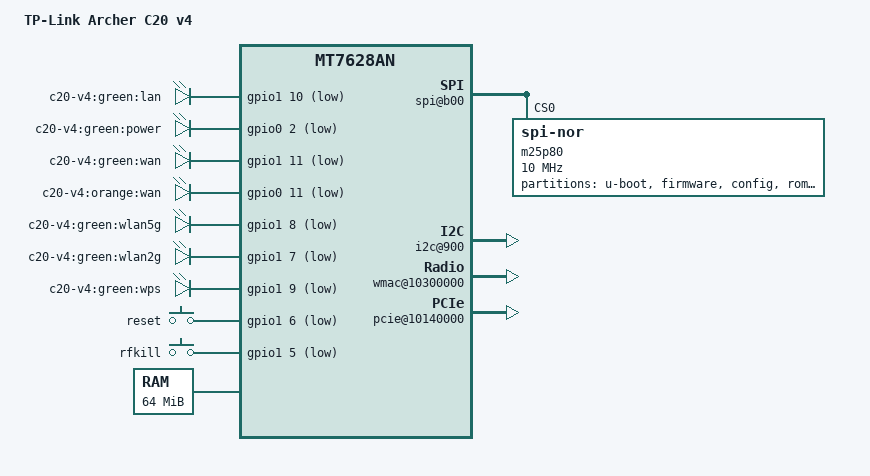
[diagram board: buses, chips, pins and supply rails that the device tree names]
/dts-v1/;

/include/ "mt7628an.dtsi"

/ {
	compatible = "tplink,c20-v4", "mediatek,mt7628an-soc";
	model = "TP-Link Archer C20 v4";

	chosen {
		bootargs = "console=ttyS0,115200";
	};

	gpio-leds {
		compatible = "gpio-leds";

		lan {
			label = "c20-v4:green:lan";
			gpios = <&gpio1 10 1>;
		};

		power {
			label = "c20-v4:green:power";
			gpios = <&gpio0 2 1>;
		};

		wan {
			label = "c20-v4:green:wan";
			gpios = <&gpio1 11 1>;
		};

		wan_orange {
			label = "c20-v4:orange:wan";
			gpios = <&gpio0 11 1>;
		};

		wlan5g {
			label = "c20-v4:green:wlan5g";
			gpios = <&gpio1 8 1>;
		};

		wlan2g {
			label = "c20-v4:green:wlan2g";
			gpios = <&gpio1 7 1>;
		};

		wps {
			label = "c20-v4:green:wps";
			gpios = <&gpio1 9 1>;
		};
	};

	keys {
		compatible = "gpio-keys-polled";
		poll-interval = <20>;

		reset {
			label = "reset";
			gpios = <&gpio1 6 1>;
			linux,code = <0x198>;
		};

		rfkill {
			label = "rfkill";
			gpios = <&gpio1 5 1>;
			linux,code = <247>;
		};
	};

	memory@0 {
		device_type = "memory";
		reg = <0x0 0x4000000>;
	};

	palmbus@10000000 {
		spi@b00 {
			status = "okay";

			m25p80@0 {
				#address-cells = <1>;
				#size-cells = <1>;
				compatible = "jedec,spi-nor";
				reg = <0 0>;
				spi-max-frequency = <10000000>;

				partition@0 {
					label = "u-boot";
					reg = <0x0 0x20000>;
				};

				partition@20000 {
					label = "firmware";
					reg = <0x20000 0x7a0000>;
				};

				partition@7c0000 {
					label = "config";
					reg = <0x7c0000 0x10000>;
				};

				rom: partition@7d0000 {
					label = "rom";
					reg = <0x7d0000 0x10000>;
				};

				partition@7e0000 {
					label = "romfile";
					reg = <0x7e0000 0x10000>;
				};

				radio:partition@7f0000 {
					label = "radio";
					reg = <0x7f0000 0x10000>;
				};
			};
		};

		i2c@900 {
			status = "okay";
		};
	};


	ehci@101c0000 {
		status = "disabled";
	};

	ohci@101c1000 {
		status = "disabled";
	};


	wmac@10300000 {
		status = "okay";
		mediatek,mtd-eeprom = <&radio 0x0>;
		mtd-mac-address = <&rom 0xf100>;
		mtd-mac-address-increment = <(-2)>;
	};

	ethernet@10100000 {
		mtd-mac-address = <&rom 0xf100>;
		mediatek,portmap = "wllll";
	};

	pinctrl {
		state_default: pinctrl0 {
			default {
				ralink,group = "i2s", "refclk", "p0led_an", "p1led_an", "p2led_an", "p3led_an", "p4led_an", "wdt";
				ralink,function = "gpio";
			};
		};
	};

	pcie@10140000 {
		status = "okay";

		pcie-bridge {
			mt76@0,0 {
				reg = <0x0000 0 0 0 0>;
				device_type = "pci";
				mediatek,mtd-eeprom = <&radio 0x8000>;
				mediatek,5ghz = <0>;
				mtd-mac-address = <&rom 0xf100>;
				mtd-mac-address-increment = <(-1)>;
			};
		};
	};
};
